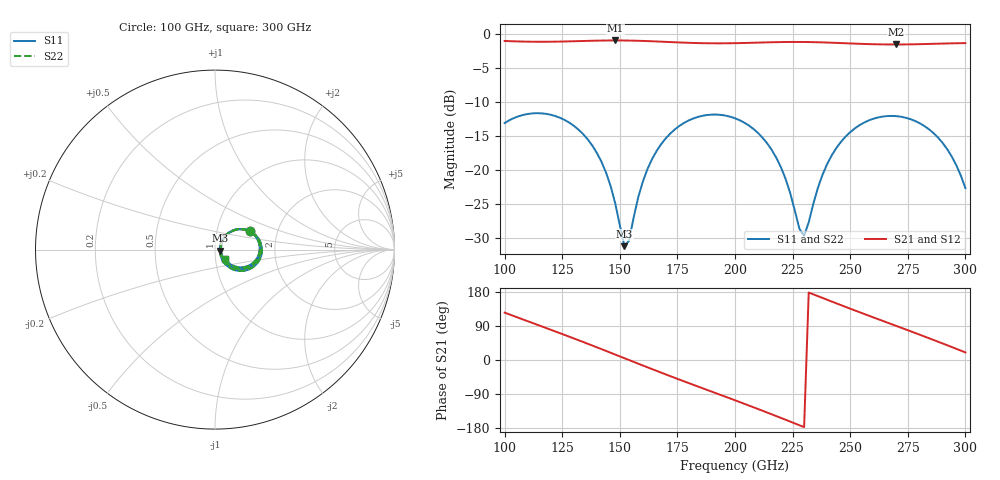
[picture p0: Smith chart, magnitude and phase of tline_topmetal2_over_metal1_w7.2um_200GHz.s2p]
#  GHZ S DB R 50
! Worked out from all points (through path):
!   101 points, 100 GHz to 300 GHz, reference 50 ohm
!   highest |S21| = -0.98 dB at 148 GHz (marker M1); lowest = -1.6 dB at 270 GHz (marker M2)
!   group delay of S21, straight-line fit = 6.47 ps
!   lowest |S11| = -31.2 dB at 152 GHz (marker M3), VSWR 1.06, Z = 52.7 - j0.723 ohm
!   |S11| at or under -10 dB: start of sweep to end of sweep
!   |S22| runs from -31.2 to -11.7 dB; largest |S21 - S12| = 1.5e-12
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100  -13.10 27.4  -1.05 125.1  -1.05 125.1  -13.11 27.6
118  -11.75 -8.8  -1.17 84.4  -1.17 84.4  -11.76 -8.7
134  -14.69 -40.3  -1.06 47.7  -1.06 47.7  -14.70 -40.3
142  -18.76 -53.0  -0.99 28.8  -0.99 28.8  -18.77 -53.0
148  -24.86 -52.1  -0.98 14.4  -0.98 14.4  -24.88 -52.1
152  -31.17 -14.3  -0.98 4.7  -0.98 4.7  -31.17 -14.1
154  -30.37 24.9  -0.99 -0.1  -0.99 -0.1  -30.34 24.9
160  -21.68 54.0  -1.05 -14.5  -1.05 -14.5  -21.68 54.0
168  -16.18 45.3  -1.15 -33.4  -1.15 -33.4  -16.17 45.2
184  -12.19 15.2  -1.36 -70.2  -1.36 -70.2  -12.19 15.0
200  -12.40 -16.4  -1.37 -106.3  -1.37 -106.3  -12.40 -16.5
216  -17.07 -44.8  -1.24 -143.5  -1.24 -143.5  -17.07 -45.0
222  -21.34 -49.2  -1.20 -157.8  -1.20 -157.8  -21.34 -49.4
230  -29.63 7.7  -1.20 -177.1  -1.20 -177.1  -29.64 7.4
234  -24.95 46.1  -1.22 173.3  -1.22 173.3  -24.96 45.9
240  -19.12 50.9  -1.28 159.0  -1.28 159.0  -19.12 50.7
248  -15.09 40.0  -1.39 140.1  -1.39 140.1  -15.09 39.8
258  -12.72 21.7  -1.51 117.1  -1.51 117.1  -12.73 21.5
268  -12.05 2.4  -1.57 94.5  -1.57 94.5  -12.06 2.2
270  -12.08 -1.4  -1.57 89.9  -1.57 89.9  -12.09 -1.7
288  -15.19 -34.7  -1.45 48.6  -1.45 48.6  -15.19 -34.9
300  -22.65 -42.9  -1.37 20.1  -1.37 20.1  -22.64 -43.0
